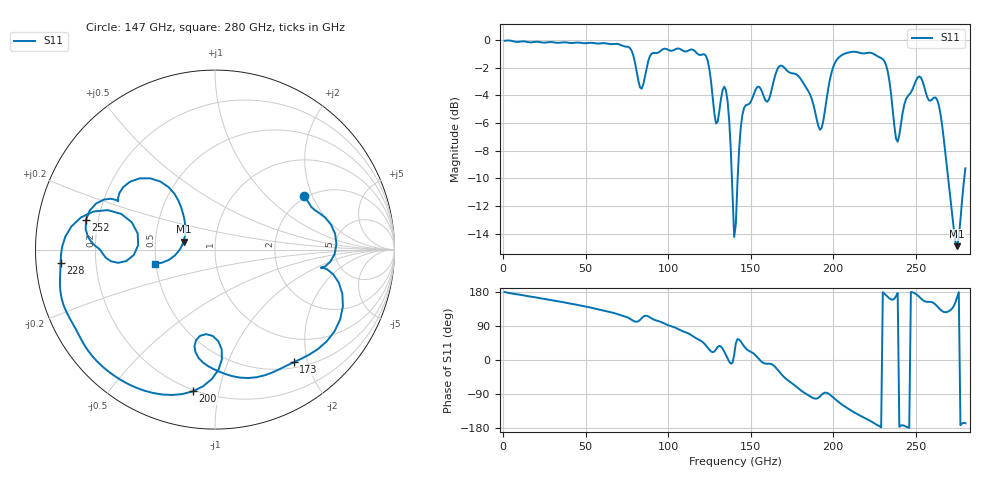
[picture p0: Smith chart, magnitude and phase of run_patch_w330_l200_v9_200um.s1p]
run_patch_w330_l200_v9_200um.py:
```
import os
import sys
sys.path.insert(0, os.path.abspath(os.path.join(os.path.dirname(__file__), 'modules')))

import modules.util_stackup_reader as stackup_reader
import modules.util_gds_reader as gds_reader
import modules.util_utilities as utilities
import modules.util_simulation_setup as simulation_setup
import modules.util_meshlines as util_meshlines

from openEMS import openEMS
import numpy as np
import matplotlib.pyplot as plt

# Model comments
#
# Dual dipole 245 GHz, design by IHP Klaus Schmalz
# Port defined in GDSIIfile on layer 201
# nf2ff_box field sampling at boundary for pattern calculation


# ======================== workflow settings ================================

# preview model/mesh only?
# postprocess existing data without re-running simulation?
preview_only = False
postprocess_only = True

# ===================== input files and path settings =======================

gds_filename = "patch_w330_l200_v9.gds"   # geometries
XML_filename = "SG13G2_200um.xml"       # stackup

# preprocess GDSII for safe handling of cutouts/holes?
preprocess_gds = False

# merge via polygons with distance less than .. microns, set to 0 to disable via merging.
merge_polygon_size = 0

# get path for this simulation file
script_path = utilities.get_script_path(__file__)

# use script filename as model basename
model_basename = utilities.get_basename(__file__)

# set and create directory for simulation output
sim_path = utilities.create_sim_path (script_path,model_basename)
print('Simulation data directory: ', sim_path)

# change current path to model script path
os.chdir(os.path.dirname(os.path.abspath(__file__)))

# ======================== simulation settings ================================

unit = 1e-6   # geometry dimensions and all lengths unit is µm (micrometer)
margin = 200    # distance in microns from GDSII geometry boundary to chip boundary 

fstart = 1e9
fstop  = 280e9
num_freq = 280

ftarget = 140e9  # frequency for antenna pattern calculation

refined_cellsize = 2.0  # mesh cell size in conductor region

# choices for boundary: 
# 'PEC' : perfect electric conductor (default)
# 'PMC' : perfect magnetic conductor, useful for symmetries
# 'MUR' : simple MUR absorbing boundary conditions
# 'PML_8' : PML absorbing boundary conditions
Boundaries = ['PML_8', 'PML_8', 'PML_8', 'PML_8', 'PML_8', 'PML_8']

cells_per_wavelength = 10   # how many mesh cells per wavelength, must be 10 or more
energy_limit = -30          # end criteria for residual energy (dB)

# ports from GDSII Data, polygon geometry from specified special layer
# note that for multiport simulation, excitations are switched on/off in simulation_setup.createSimulation below
simulation_ports = simulation_setup.all_simulation_ports()
simulation_ports.add_port(simulation_setup.simulation_port(portnumber=1, voltage=1, port_Z0=50, source_layernum=201, target_layername='TopMetal2', direction='-y'))

# ======================== simulation ================================

# get technology stackup data
materials_list, dielectrics_list, metals_list = stackup_reader.read_substrate (XML_filename)
# get list of layers from technology
layernumbers = metals_list.getlayernumbers()
layernumbers.extend(simulation_ports.portlayers)

# read geometries from GDSII, only purpose 0
allpolygons = gds_reader.read_gds(gds_filename, layernumbers, purposelist=[0], metals_list=metals_list, preprocess=preprocess_gds, merge_polygon_size=merge_polygon_size)

# calculate maximum cellsize from wavelength in dielectric
wavelength_air = 3e8/fstop / unit
max_cellsize = (wavelength_air)/(np.sqrt(materials_list.eps_max)*cells_per_wavelength) 


########### create model, run and post-process ###########

# Prepare simulation for port 1 excitation
excite_ports = [1]  # list of ports that are excited for this simulation run
FDTD = openEMS(EndCriteria=np.exp(energy_limit/10 * np.log(10)))
FDTD.SetGaussExcite( (fstart+fstop)/2, (fstop-fstart)/2 )
FDTD.SetBoundaryCond( Boundaries )

FDTD = simulation_setup.setupSimulation(
    excite_ports, 
    simulation_ports, 
    FDTD, 
    materials_list, 
    dielectrics_list, 
    metals_list, 
    allpolygons, 
    max_cellsize, 
    refined_cellsize, 
    margin, 
    unit, 
    xy_mesh_function = util_meshlines.create_xy_mesh_from_polygons, 
    air_around = 0.5*wavelength_air
    )

# add nf2ff box for antenna pattern calculation
nf2ff_box = FDTD.CreateNF2FFBox(opt_resolution = [max_cellsize]*3, frequency = [ftarget])

# run simulation
sub1_data_path = simulation_setup.runSimulation(excite_ports, FDTD, sim_path, model_basename, preview_only, postprocess_only)

# simulation is finished, get results, CSX port definition is read from simulation ports object
CSX_port1 = simulation_ports.get_port_by_number(1).CSXport

# definition of some utility functions
def dB(value, factor=20):
    return factor*np.log10(np.abs(value))
def dBm(value, factor=20):
    return dB(value/1e-3, factor=factor)

# evaluate results for 1-port simulation
if not preview_only:  
    f = np.linspace(fstart, fstop, num_freq)

    s11 = utilities.calculate_Sij(1, 1, f, sim_path, simulation_ports)
    s11_dB = dB(s11)

    # write Touchstone S1P file
    s1p_name = os.path.join(sim_path, model_basename + '.s1p')
    utilities.write_snp (np.array([s11]),f, s1p_name)

    # plot return loss
    fig, axis = plt.subplots(num="Return Loss", tight_layout=True)
    axis.plot(f/1e9, s11_dB, 'k-', linewidth=2, label='S11 (dB)')
    axis.grid()
    axis.set_xmargin(0)
    axis.set_xlim(110,170)
    axis.set_xlabel('Frequency (GHz)')
    axis.set_title("Return Loss")
    axis.legend()
    
    print('Calculating antenna pattern, this will take a while!')
   
    theta = np.arange(-180.0, 180.0, 2.0)
    phi   = [0., 90.]
    nf2ff_res = nf2ff_box.CalcNF2FF(sub1_data_path, ftarget, theta, phi)

   # INPUT POWER values into feed port at evaluation frequency
   # P_acc = accepted power (incoming - reflected)
   # P_inc = incident power (incoming), regardless of reflection
   
   # get accepted power into port
    Pin_accepted = np.interp(ftarget, f, CSX_port1.P_acc)
   # get incident power
    P_incident = np.interp(ftarget, f, CSX_port1.P_inc)

   # get total radiated power at nf2ff frequency 
    Prad_total = nf2ff_res.Prad[0]
   # get directivity (peak value) at nf2ff frequency 
    Dmax_dB = dB(nf2ff_res.Dmax[0], 10)
   # calculate radiation efficiency (lossless antenna is 1, regardless of input matching)
    radiation_efficiency = Prad_total/Pin_accepted
    radiation_efficiency_dB = dB(radiation_efficiency, 10)  # negative for lossy antenna
   # loss from reflection due to mismatch
    mismatch_loss =  Pin_accepted/P_incident
    mismatch_loss_dB = dB(mismatch_loss, 10)

   # evaluate far field components
   # normalize E field components to peak value of absolute field, and multiply by directivity
    directivity_abs  = dB(nf2ff_res.E_norm[0]/np.max(nf2ff_res.E_norm[0])) + Dmax_dB
    directivity_abs_xz = directivity_abs[:,0] # get field in xz plane, that is phi=0, which is index 0 
    directivity_abs_yz = directivity_abs[:,1] # get field in yz plane, that is phi=90, which is index 1 

    gain_abs_xz = directivity_abs_xz + radiation_efficiency_dB
    gain_abs_yz = directivity_abs_yz + radiation_efficiency_dB

   # display radiated power and directivity
    print(f"Antenna parameters at {ftarget/1e9:g} GHz:")
    print(f"    Incident power P_incident  =  {P_incident:.3e} W  =  {dBm(P_incident, 10):g} dBm")
    print(f"    Accepted power Pin_accepted  =  {Pin_accepted:.3e} W  =  {dBm(Pin_accepted, 10):g} dBm")
    print(f"    Radiated power Prad_total  =  {Prad_total:.3e} W  =  {dBm(Prad_total, 10):g} dBm")
    print(f"    Directivity Dmax  =  {Dmax_dB:g} dBi")
    print(f"    efficiency nu_rad  =  {100*radiation_efficiency:g} %  =  {radiation_efficiency_dB:g} dB")
    print(f"    mismatch loss  =  {mismatch_loss:g} (linear)  =  {mismatch_loss_dB:g} dB")


    fig, axis = plt.subplots(num="Directivity", tight_layout=True)
    axis.plot(theta, np.squeeze(directivity_abs_xz), 'k-',  linewidth=2, label='xz-plane')
    axis.plot(theta, np.squeeze(directivity_abs_yz), 'r--', linewidth=2, label='yz-plane')
    axis.grid()
    axis.set_xmargin(0)
    axis.set_xlabel('Theta (deg)')
    axis.set_ylabel('Directivity (dBi)')
    axis.set_title(f'Directivity at Frequency: {ftarget/1e9:g} GHz')
    axis.legend()

    fig, axis = plt.subplots(num="Gain", tight_layout=True)
    axis.plot(theta, np.squeeze(gain_abs_xz), 'k-',  linewidth=2, label='xz-plane')
    axis.plot(theta, np.squeeze(gain_abs_yz), 'r--', linewidth=2, label='yz-plane')
    axis.grid()
    axis.set_xmargin(0)
    axis.set_xlabel('Theta (deg)')
    axis.set_ylabel('Gain (dBi)')
    axis.set_title(f'Gain at Frequency: {ftarget/1e9:g} GHz')
    axis.legend()

    # show all plots
    plt.show()
```
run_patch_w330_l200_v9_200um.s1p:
#  Hz  S  RI  R  50
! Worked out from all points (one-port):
!   280 points, 1 GHz to 280 GHz, reference 50 ohm
!   lowest |S11| = -14.9 dB at 275 GHz (marker M1), VSWR 1.44, Z = 35 + j3.15 ohm
!   |S11| at or under -10 dB: 138.6 GHz to 142.1 GHz (3.483 GHz wide, 2.48 % of centre); 269.6 GHz to 279.3 GHz (9.726 GHz wide, 3.54 % of centre)
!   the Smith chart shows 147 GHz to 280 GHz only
!   S11 on the Smith chart (normalised r, x): 147 GHz: 1.95, +1.75; 173 GHz: 0.58, -1.77; 200 GHz: 0.19, -0.84; 228 GHz: 0.07, -0.04; 252 GHz: 0.15, +0.11; 280 GHz: 0.49, -0.09
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1e9  -0.9921 0.0125
9.4e10  -0.1987 0.8765
1.24e11  0.7098 0.4486
1.36e11  0.6003 0.0422
1.4e11  0.1892 0.0448
1.47e11  0.4986 0.2969
1.73e11  0.4375 -0.628
1.87e11  -0.091 -0.6044
2e11  -0.1226 -0.7892
2.28e11  -0.8608 -0.0762
2.38e11  -0.4307 0.0896
2.52e11  -0.7188 0.1664
2.75e11  -0.1748 0.0435
2.8e11  -0.3348 -0.0783
